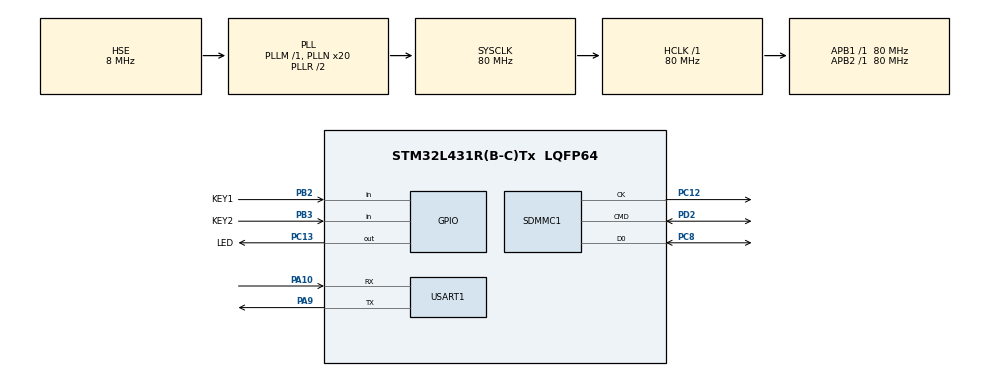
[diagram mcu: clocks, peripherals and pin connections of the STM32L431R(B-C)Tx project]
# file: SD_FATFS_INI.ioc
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FATFS._CODE_PAGE=936
FATFS._USE_CHMOD=1
FATFS._USE_EXPAND=1
FATFS._USE_FIND=1
FATFS._USE_FORWARD=1
FATFS._USE_LABEL=1
FATFS._USE_LFN=2
Mcu.Family=STM32L4
Mcu.Name=STM32L431R(B-C)Tx
Mcu.Package=LQFP64
NVIC.PriorityGroup=NVIC_PRIORITYGROUP_4
PA10.Mode=Asynchronous
PA10.Signal=USART1_RX
PA13\ (JTMS-SWDIO).Mode=Serial_Wire
PA13\ (JTMS-SWDIO).Signal=SYS_JTMS-SWDIO
PA14\ (JTCK-SWCLK).Mode=Serial_Wire
PA14\ (JTCK-SWCLK).Signal=SYS_JTCK-SWCLK
PA9.Mode=Asynchronous
PA9.Signal=USART1_TX
PB2.GPIO_Label=KEY1
PB2.GPIO_PuPd=GPIO_PULLUP
PB2.Signal=GPIO_Input
PB3\ (JTDO-TRACESWO).GPIO_Label=KEY2
PB3\ (JTDO-TRACESWO).GPIO_PuPd=GPIO_PULLUP
PB3\ (JTDO-TRACESWO).Signal=GPIO_Input
PC12.Mode=SD_1_bit
PC12.Signal=SDMMC1_CK
PC13.GPIO_Label=LED
PC13.Signal=GPIO_Output
PC8.Mode=SD_1_bit
PC8.Signal=SDMMC1_D0
PD2.Mode=SD_1_bit
PD2.Signal=SDMMC1_CMD
PH0-OSC_IN\ (PH0).Mode=HSE-External-Oscillator
PH0-OSC_IN\ (PH0).Signal=RCC_OSC_IN
PH1-OSC_OUT\ (PH1).Mode=HSE-External-Oscillator
PH1-OSC_OUT\ (PH1).Signal=RCC_OSC_OUT
ProjectManager.HeapSize=0x1200
ProjectManager.StackSize=0x1000
ProjectManager.TargetToolchain=MDK-ARM V5
RCC.ADCFreq_Value=32000000
RCC.AHBFreq_Value=80000000
RCC.APB1Freq_Value=80000000
RCC.APB1TimFreq_Value=80000000
RCC.APB2Freq_Value=80000000
RCC.APB2TimFreq_Value=80000000
RCC.CortexFreq_Value=80000000
RCC.HCLKFreq_Value=80000000
RCC.HSE_VALUE=8000000
RCC.HSI48_VALUE=48000000
RCC.HSI_VALUE=16000000
RCC.LSE_VALUE=32768
RCC.MSI_VALUE=4000000
RCC.PLLN=20
RCC.PLLSourceVirtual=RCC_PLLSOURCE_HSE
RCC.SYSCLKFreq_VALUE=80000000
RCC.SYSCLKSource=RCC_SYSCLKSOURCE_PLLCLK
RCC.VCOOutputFreq_Value=160000000
USART1.VirtualMode-Asynchronous=VM_ASYNC
VP_FATFS_VS_SDIO.Mode=SDIO
board=custom

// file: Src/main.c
/* USER CODE BEGIN Header */
/**
  ******************************************************************************
  * @file           : main.c
  * @brief          : Main program body
  ******************************************************************************
  * @attention
  *
  * <h2><center>&copy; Copyright (c) 2020 STMicroelectronics.
  * All rights reserved.</center></h2>
  *
  * This software component is licensed by ST under Ultimate Liberty license
  * SLA0044, the "License"; You may not use this file except in compliance with
  * the License. You may obtain a copy of the License at:
  *                             www.st.com/SLA0044
  *
  ******************************************************************************
  */
/* USER CODE END Header */

#include "main.h"
#include "fatfs.h"
#include "sdmmc.h"
#include "usart.h"
#include "gpio.h"

/* USER CODE BEGIN Includes */
#include "iniparser.h"
#include "multi_button.h"
/* USER CODE END Includes */

/* USER CODE BEGIN PV */
Button button1, button2;
/* USER CODE END PV */

void SystemClock_Config(void);

/* USER CODE BEGIN 0 */
int fputc(int ch, FILE *stream)
{
    /* 堵塞判断串口是否发送完成 */
    while((USART1->ISR & 0X40) == 0);

    /* 串口发送完成，将该字符发送 */
    USART1->TDR = (uint8_t) ch;

    return ch;
}

/*文件名*/
#define SETTING_PARA "0:Para.ini"

/*默认系统配置信息*/
char *System_Config_Info =
    "[Setting]\n"
    "led_flag=1;\n"									/*LED标志*/
    "plot_flag=0;\n"									/*曲线开关*/
    "WIFI_NAME=BearPi_ESP8266;\n"					/*WIFI热点*/
    "WIFI_PASSWORD=12345678;\n"						/*WIFI密码*/
    ;

typedef struct
{
    int led_flag ;
    int plot_flag ;
    char wifi_name[32] ;
    char wifi_password[32];
} info ;

info ini_info ;
dictionary  *Config_ini = NULL;

/*系统配置文件全局变量*/
uint8_t retUSER_SYS_CONFIG ;
FATFS USERFatFS_SYS_CONFIG ;
FIL USER_SYS_CONFIG_File ;

/*挂载SD卡*/
int Mount_SD(void)
{
    /*挂载SD卡*/
    retSD = f_mount(&SDFatFS, SDPath, 1);

    if(FR_OK != retSD)
        return -1 ;

    return 0 ;
}

/*创建一个默认的配置文件*/
void Create_Default_InI_File(void)
{
    retUSER_SYS_CONFIG = f_open(&USER_SYS_CONFIG_File, SETTING_PARA, FA_OPEN_ALWAYS | FA_WRITE);

    if(FR_OK != retUSER_SYS_CONFIG)
    {
        fprintf(stderr, "iniparser: cannot open %s\n", SETTING_PARA);
        return ;
    }

    f_printf(&USER_SYS_CONFIG_File, System_Config_Info);
    f_close(&USER_SYS_CONFIG_File);
}

/*加载INI文件*/
int Load_Confg_INI_Process(void)
{
    /*加载INI文件*/
    Config_ini = iniparser_load(SETTING_PARA);

    if(NULL == Config_ini)
    {
        printf("加载出错\n");
        Create_Default_InI_File();
        Config_ini = iniparser_load(SETTING_PARA);

        if(NULL == Config_ini)
        {
            printf("创建默认INI文件后继续加载出错\n");
            return  -1;
        }
    }

    printf("加载INI文件成功\n");
    return 0 ;
}

/*保存参数*/
int INI_Para_Save_Process(void)
{
    /*write config.ini parse*/
    retUSER_SYS_CONFIG = f_open(&USER_SYS_CONFIG_File, SETTING_PARA, FA_OPEN_EXISTING | FA_WRITE);

    if(FR_OK != retUSER_SYS_CONFIG)
    {
        printf("iniparser: cannot open %s\n", SETTING_PARA);
        return -1;
    }

    printf("参数设置保存成功\n");
    iniparser_dump_ini(Config_ini, &USER_SYS_CONFIG_File);
    f_close(&USER_SYS_CONFIG_File);
    iniparser_freedict(Config_ini);
    return 0 ;
}

uint8_t read_button1()
{
    return HAL_GPIO_ReadPin(KEY1_GPIO_Port, KEY1_Pin) ;
}

uint8_t read_button2()
{
    return HAL_GPIO_ReadPin(KEY2_GPIO_Port, KEY2_Pin) ;
}

void button1_callback(void *ptr)
{
    static uint8_t index = 0 ;
    char *wifi_name_para[] = {"Yangyuanxin", "Bruce_Yang", "BearPi", "mculover666"};

    if(index == 4)
        index = 0 ;

    printf("\r\n按下KEY1，改变并保存WIFI_NAME参数！\n");
    Load_Confg_INI_Process();
    iniparser_set(Config_ini, "Setting:WIFI_NAME", wifi_name_para[index]);
    INI_Para_Save_Process();
	printf("设置wifi_name:%s成功\n",wifi_name_para[index]);
    HAL_GPIO_WritePin(LED_GPIO_Port, LED_Pin, GPIO_PIN_RESET);
    ++index ;
}

void button2_callback(void *ptr)
{
	char *wifi_name = NULL ;
    printf("\r\n按下KEY2，读取WIFI_NAME参数！\n");
    Load_Confg_INI_Process();
    wifi_name = iniparser_getstring(Config_ini, 	  "Setting:WIFI_NAME", 	   "not found");
    INI_Para_Save_Process();
    memset(ini_info.wifi_name, 0, strlen(ini_info.wifi_name));
    memcpy(ini_info.wifi_name, wifi_name, strlen(wifi_name));
    printf("wifi_name:%s\n", ini_info.wifi_name);
    HAL_GPIO_WritePin(LED_GPIO_Port, LED_Pin, GPIO_PIN_SET);
}
/* USER CODE END 0 */

int main(void)
{
    /* USER CODE BEGIN 1 */
    int ret = -1 ;
    char *wifi_name = NULL ;
    char *wifi_password = NULL ;
    /* USER CODE END 1 */

    /* MCU Configuration--------------------------------------------------------*/

    /* Reset of all peripherals, Initializes the Flash interface and the Systick. */
    HAL_Init();

    /* Configure the system clock */
    SystemClock_Config();

    /* Initialize all configured peripherals */
    MX_GPIO_Init();
    MX_SDMMC1_SD_Init();
    MX_USART1_UART_Init();
    MX_FATFS_Init();
    /* USER CODE BEGIN 2 */
    button_init(&button1, read_button1, 0);
    button_init(&button2, read_button2, 0);
    button_attach(&button1, SINGLE_CLICK, button1_callback);
    button_attach(&button2, SINGLE_CLICK, button2_callback);
	button_start(&button1);
	button_start(&button2);

    ret = Mount_SD();

    if(ret != 0)
    {
        printf("SD Card mount ERROR\r\n");
        HAL_GPIO_WritePin(LED_GPIO_Port, LED_Pin, GPIO_PIN_SET);
        return -1 ;
    }

    printf("SD卡挂载成功!\n");
    ret = Load_Confg_INI_Process();

    if(ret != 0)
    {
        printf("读取INI文件失败!\r\n");
        HAL_GPIO_WritePin(LED_GPIO_Port, LED_Pin, GPIO_PIN_SET);
        return -2 ;
    }

    /*加载系统参数*/
    ini_info.led_flag = iniparser_getint(Config_ini,  "Setting:led_flag",  -1);
    ini_info.plot_flag = iniparser_getint(Config_ini, "Setting:plot_flag", -1);
    wifi_name = iniparser_getstring(Config_ini, 	  "Setting:WIFI_NAME", 	   "not found");
    wifi_password = iniparser_getstring(Config_ini,   "Setting:WIFI_PASSWORD", "not found");
    memcpy(ini_info.wifi_name, wifi_name, strlen(wifi_name));
    memcpy(ini_info.wifi_password, wifi_password, strlen(wifi_password));
    /*改变参数*/
    ret = iniparser_set(Config_ini, "Setting:led_flag", "0");
    if(ret != 0)
    {
        printf("改变参数失败!\n");
        return -3 ;
    }

    printf("改变参数成功\n");
    ret = INI_Para_Save_Process();

    if(ret != 0)
    {
        printf("写入保存INI文件失败!\r\n");
        HAL_GPIO_WritePin(LED_GPIO_Port, LED_Pin, GPIO_PIN_SET);
        return -4 ;
    }

    printf("写入保存INI文件成功!\r\n");
    /* USER CODE END 2 */

    /* Infinite loop */
    while (1)
    {

        /* USER CODE BEGIN 3 */
		button_ticks();
		HAL_Delay(5);
    }

    /* USER CODE END 3 */
}

void SystemClock_Config(void)
{
    RCC_OscInitTypeDef RCC_OscInitStruct = {0};
    RCC_ClkInitTypeDef RCC_ClkInitStruct = {0};
    RCC_PeriphCLKInitTypeDef PeriphClkInit = {0};

    /** Initializes the CPU, AHB and APB busses clocks
    */
    RCC_OscInitStruct.OscillatorType = RCC_OSCILLATORTYPE_HSE;
    RCC_OscInitStruct.HSEState = RCC_HSE_ON;
    RCC_OscInitStruct.PLL.PLLState = RCC_PLL_ON;
    RCC_OscInitStruct.PLL.PLLSource = RCC_PLLSOURCE_HSE;
    RCC_OscInitStruct.PLL.PLLM = 1;
    RCC_OscInitStruct.PLL.PLLN = 20;
    RCC_OscInitStruct.PLL.PLLP = RCC_PLLP_DIV7;
    RCC_OscInitStruct.PLL.PLLQ = RCC_PLLQ_DIV2;
    RCC_OscInitStruct.PLL.PLLR = RCC_PLLR_DIV2;

    if (HAL_RCC_OscConfig(&RCC_OscInitStruct) != HAL_OK)
    {
        Error_Handler();
    }

    /** Initializes the CPU, AHB and APB busses clocks
    */
    RCC_ClkInitStruct.ClockType = RCC_CLOCKTYPE_HCLK | RCC_CLOCKTYPE_SYSCLK
                                  | RCC_CLOCKTYPE_PCLK1 | RCC_CLOCKTYPE_PCLK2;
    RCC_ClkInitStruct.SYSCLKSource = RCC_SYSCLKSOURCE_PLLCLK;
    RCC_ClkInitStruct.AHBCLKDivider = RCC_SYSCLK_DIV1;
    RCC_ClkInitStruct.APB1CLKDivider = RCC_HCLK_DIV1;
    RCC_ClkInitStruct.APB2CLKDivider = RCC_HCLK_DIV1;

    if (HAL_RCC_ClockConfig(&RCC_ClkInitStruct, FLASH_LATENCY_4) != HAL_OK)
    {
        Error_Handler();
    }

    PeriphClkInit.PeriphClockSelection = RCC_PERIPHCLK_USART1 | RCC_PERIPHCLK_SDMMC1;
    PeriphClkInit.Usart1ClockSelection = RCC_USART1CLKSOURCE_PCLK2;
    PeriphClkInit.Sdmmc1ClockSelection = RCC_SDMMC1CLKSOURCE_PLLSAI1;
    PeriphClkInit.PLLSAI1.PLLSAI1Source = RCC_PLLSOURCE_HSE;
    PeriphClkInit.PLLSAI1.PLLSAI1M = 1;
    PeriphClkInit.PLLSAI1.PLLSAI1N = 8;
    PeriphClkInit.PLLSAI1.PLLSAI1P = RCC_PLLP_DIV7;
    PeriphClkInit.PLLSAI1.PLLSAI1Q = RCC_PLLQ_DIV2;
    PeriphClkInit.PLLSAI1.PLLSAI1R = RCC_PLLR_DIV2;
    PeriphClkInit.PLLSAI1.PLLSAI1ClockOut = RCC_PLLSAI1_48M2CLK;

    if (HAL_RCCEx_PeriphCLKConfig(&PeriphClkInit) != HAL_OK)
    {
        Error_Handler();
    }

    /** Configure the main internal regulator output voltage
    */
    if (HAL_PWREx_ControlVoltageScaling(PWR_REGULATOR_VOLTAGE_SCALE1) != HAL_OK)
    {
        Error_Handler();
    }
}

void Error_Handler(void)
{
}

/************************ (C) COPYRIGHT STMicroelectronics *****END OF FILE****/
